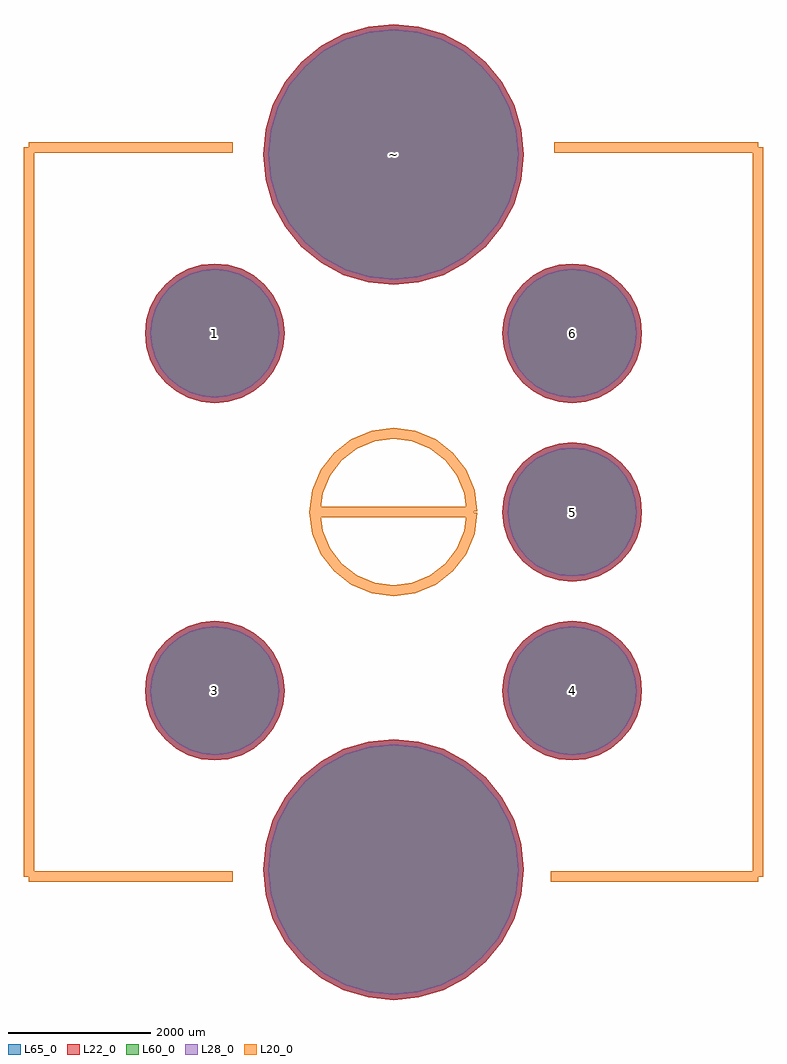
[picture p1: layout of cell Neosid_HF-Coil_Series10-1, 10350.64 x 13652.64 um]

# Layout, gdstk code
import gdstk
lib = gdstk.Library(unit=1e-6, precision=1e-09)
def P(c, l, *ps):  # polygons
    for p in ps: c.add(gdstk.Polygon(p, *l))
L20_0 = (20, 0)
L22_0 = (22, 0)
L28_0 = (28, 0)
L60_0 = (60, 0)
L65_0 = (65, 0)

neosid_hf_coil_series10_ = lib.new_cell('Neosid_HF-Coil_Series10-1')
P(neosid_hf_coil_series10_, L22_0, [(1825.06,-5001.26),(1789.992,-4645.208),(1686.136,-4302.84),(1517.482,-3987.311),(1290.512,-3710.748),(1013.949,-3483.778),(698.42,-3315.124),(356.052,-3211.268),(0,-3176.2),(-356.052,-3211.268),(-698.42,-3315.124),(-1013.949,-3483.778),(-1290.512,-3710.748),(-1517.482,-3987.311),(-1686.136,-4302.84),(-1789.992,-4645.208),(-1825.06,-5001.26),(-1789.992,-5357.312),(-1686.136,-5699.68),(-1517.482,-6015.209),(-1290.512,-6291.772),(-1013.949,-6518.742),(-698.42,-6687.396),(-356.052,-6791.252),(0,-6826.32),(356.052,-6791.252),(698.42,-6687.396),(1013.949,-6518.742),(1290.512,-6291.772),(1517.482,-6015.209),(1686.136,-5699.68),(1789.992,-5357.312)],
  [(1825.06,5001.26),(1789.992,5357.312),(1686.136,5699.68),(1517.482,6015.209),(1290.512,6291.772),(1013.949,6518.742),(698.42,6687.396),(356.052,6791.252),(0,6826.32),(-356.052,6791.252),(-698.42,6687.396),(-1013.949,6518.742),(-1290.512,6291.772),(-1517.482,6015.209),(-1686.136,5699.68),(-1789.992,5357.312),(-1825.06,5001.26),(-1789.992,4645.208),(-1686.136,4302.84),(-1517.482,3987.311),(-1290.512,3710.748),(-1013.949,3483.778),(-698.42,3315.124),(-356.052,3211.268),(0,3176.2),(356.052,3211.268),(698.42,3315.124),(1013.949,3483.778),(1290.512,3710.748),(1517.482,3987.311),(1686.136,4302.84),(1789.992,4645.208)],
  [(3474.79,-2499.36),(3456.047,-2309.063),(3400.54,-2126.079),(3310.4,-1957.44),(3189.093,-1809.627),(3041.28,-1688.32),(2872.641,-1598.18),(2689.657,-1542.673),(2499.36,-1523.93),(2309.063,-1542.673),(2126.079,-1598.18),(1957.44,-1688.32),(1809.627,-1809.627),(1688.32,-1957.44),(1598.18,-2126.079),(1542.673,-2309.063),(1523.93,-2499.36),(1542.673,-2689.657),(1598.18,-2872.641),(1688.32,-3041.28),(1809.627,-3189.093),(1957.44,-3310.4),(2126.079,-3400.54),(2309.063,-3456.047),(2499.36,-3474.79),(2689.657,-3456.047),(2872.641,-3400.54),(3041.28,-3310.4),(3189.093,-3189.093),(3310.4,-3041.28),(3400.54,-2872.641),(3456.047,-2689.657)],
  [(3474.79,0),(3456.047,190.297),(3400.54,373.281),(3310.4,541.92),(3189.093,689.733),(3041.28,811.04),(2872.641,901.18),(2689.657,956.687),(2499.36,975.43),(2309.063,956.687),(2126.079,901.18),(1957.44,811.04),(1809.627,689.733),(1688.32,541.92),(1598.18,373.281),(1542.673,190.297),(1523.93,0),(1542.673,-190.297),(1598.18,-373.281),(1688.32,-541.92),(1809.627,-689.733),(1957.44,-811.04),(2126.079,-901.18),(2309.063,-956.687),(2499.36,-975.43),(2689.657,-956.687),(2872.641,-901.18),(3041.28,-811.04),(3189.093,-689.733),(3310.4,-541.92),(3400.54,-373.281),(3456.047,-190.297)],
  [(3474.79,2499.36),(3456.047,2689.657),(3400.54,2872.641),(3310.4,3041.28),(3189.093,3189.093),(3041.28,3310.4),(2872.641,3400.54),(2689.657,3456.047),(2499.36,3474.79),(2309.063,3456.047),(2126.079,3400.54),(1957.44,3310.4),(1809.627,3189.093),(1688.32,3041.28),(1598.18,2872.641),(1542.673,2689.657),(1523.93,2499.36),(1542.673,2309.063),(1598.18,2126.079),(1688.32,1957.44),(1809.627,1809.627),(1957.44,1688.32),(2126.079,1598.18),(2309.063,1542.673),(2499.36,1523.93),(2689.657,1542.673),(2872.641,1598.18),(3041.28,1688.32),(3189.093,1809.627),(3310.4,1957.44),(3400.54,2126.079),(3456.047,2309.063)],
  [(-1523.93,-2499.36),(-1542.673,-2309.063),(-1598.18,-2126.079),(-1688.32,-1957.44),(-1809.627,-1809.627),(-1957.44,-1688.32),(-2126.079,-1598.18),(-2309.063,-1542.673),(-2499.36,-1523.93),(-2689.657,-1542.673),(-2872.641,-1598.18),(-3041.28,-1688.32),(-3189.093,-1809.627),(-3310.4,-1957.44),(-3400.54,-2126.079),(-3456.047,-2309.063),(-3474.79,-2499.36),(-3456.047,-2689.657),(-3400.54,-2872.641),(-3310.4,-3041.28),(-3189.093,-3189.093),(-3041.28,-3310.4),(-2872.641,-3400.54),(-2689.657,-3456.047),(-2499.36,-3474.79),(-2309.063,-3456.047),(-2126.079,-3400.54),(-1957.44,-3310.4),(-1809.627,-3189.093),(-1688.32,-3041.28),(-1598.18,-2872.641),(-1542.673,-2689.657)],
  [(-1523.93,2499.36),(-1542.673,2689.657),(-1598.18,2872.641),(-1688.32,3041.28),(-1809.627,3189.093),(-1957.44,3310.4),(-2126.079,3400.54),(-2309.063,3456.047),(-2499.36,3474.79),(-2689.657,3456.047),(-2872.641,3400.54),(-3041.28,3310.4),(-3189.093,3189.093),(-3310.4,3041.28),(-3400.54,2872.641),(-3456.047,2689.657),(-3474.79,2499.36),(-3456.047,2309.063),(-3400.54,2126.079),(-3310.4,1957.44),(-3189.093,1809.627),(-3041.28,1688.32),(-2872.641,1598.18),(-2689.657,1542.673),(-2499.36,1523.93),(-2309.063,1542.673),(-2126.079,1598.18),(-1957.44,1688.32),(-1809.627,1809.627),(-1688.32,1957.44),(-1598.18,2126.079),(-1542.673,2309.063)])
P(neosid_hf_coil_series10_, L28_0, [(1750.06,-5001.26),(1716.433,-4659.84),(1616.845,-4331.541),(1455.122,-4028.979),(1237.479,-3763.781),(972.281,-3546.138),(669.719,-3384.415),(341.42,-3284.827),(0,-3251.2),(-341.42,-3284.827),(-669.719,-3384.415),(-972.281,-3546.138),(-1237.479,-3763.781),(-1455.122,-4028.979),(-1616.845,-4331.541),(-1716.433,-4659.84),(-1750.06,-5001.26),(-1716.433,-5342.68),(-1616.845,-5670.979),(-1455.122,-5973.541),(-1237.479,-6238.739),(-972.281,-6456.382),(-669.719,-6618.105),(-341.42,-6717.693),(0,-6751.32),(341.42,-6717.693),(669.719,-6618.105),(972.281,-6456.382),(1237.479,-6238.739),(1455.122,-5973.541),(1616.845,-5670.979),(1716.433,-5342.68)],
  [(1750.06,5001.26),(1716.433,5342.68),(1616.845,5670.979),(1455.122,5973.541),(1237.479,6238.739),(972.281,6456.382),(669.719,6618.105),(341.42,6717.693),(0,6751.32),(-341.42,6717.693),(-669.719,6618.105),(-972.281,6456.382),(-1237.479,6238.739),(-1455.122,5973.541),(-1616.845,5670.979),(-1716.433,5342.68),(-1750.06,5001.26),(-1716.433,4659.84),(-1616.845,4331.541),(-1455.122,4028.979),(-1237.479,3763.781),(-972.281,3546.138),(-669.719,3384.415),(-341.42,3284.827),(0,3251.2),(341.42,3284.827),(669.719,3384.415),(972.281,3546.138),(1237.479,3763.781),(1455.122,4028.979),(1616.845,4331.541),(1716.433,4659.84)],
  [(3399.79,-2499.36),(3382.488,-2323.695),(3331.249,-2154.78),(3248.04,-1999.108),(3136.06,-1862.66),(2999.612,-1750.68),(2843.94,-1667.471),(2675.025,-1616.232),(2499.36,-1598.93),(2323.695,-1616.232),(2154.78,-1667.471),(1999.108,-1750.68),(1862.66,-1862.66),(1750.68,-1999.108),(1667.471,-2154.78),(1616.232,-2323.695),(1598.93,-2499.36),(1616.232,-2675.025),(1667.471,-2843.94),(1750.68,-2999.612),(1862.66,-3136.06),(1999.108,-3248.04),(2154.78,-3331.249),(2323.695,-3382.488),(2499.36,-3399.79),(2675.025,-3382.488),(2843.94,-3331.249),(2999.612,-3248.04),(3136.06,-3136.06),(3248.04,-2999.612),(3331.249,-2843.94),(3382.488,-2675.025)],
  [(3399.79,0),(3382.488,175.665),(3331.249,344.58),(3248.04,500.252),(3136.06,636.7),(2999.612,748.68),(2843.94,831.889),(2675.025,883.128),(2499.36,900.43),(2323.695,883.128),(2154.78,831.889),(1999.108,748.68),(1862.66,636.7),(1750.68,500.252),(1667.471,344.58),(1616.232,175.665),(1598.93,0),(1616.232,-175.665),(1667.471,-344.58),(1750.68,-500.252),(1862.66,-636.7),(1999.108,-748.68),(2154.78,-831.889),(2323.695,-883.128),(2499.36,-900.43),(2675.025,-883.128),(2843.94,-831.889),(2999.612,-748.68),(3136.06,-636.7),(3248.04,-500.252),(3331.249,-344.58),(3382.488,-175.665)],
  [(3399.79,2499.36),(3382.488,2675.025),(3331.249,2843.94),(3248.04,2999.612),(3136.06,3136.06),(2999.612,3248.04),(2843.94,3331.249),(2675.025,3382.488),(2499.36,3399.79),(2323.695,3382.488),(2154.78,3331.249),(1999.108,3248.04),(1862.66,3136.06),(1750.68,2999.612),(1667.471,2843.94),(1616.232,2675.025),(1598.93,2499.36),(1616.232,2323.695),(1667.471,2154.78),(1750.68,1999.108),(1862.66,1862.66),(1999.108,1750.68),(2154.78,1667.471),(2323.695,1616.232),(2499.36,1598.93),(2675.025,1616.232),(2843.94,1667.471),(2999.612,1750.68),(3136.06,1862.66),(3248.04,1999.108),(3331.249,2154.78),(3382.488,2323.695)],
  [(-1598.93,-2499.36),(-1616.232,-2323.695),(-1667.471,-2154.78),(-1750.68,-1999.108),(-1862.66,-1862.66),(-1999.108,-1750.68),(-2154.78,-1667.471),(-2323.695,-1616.232),(-2499.36,-1598.93),(-2675.025,-1616.232),(-2843.94,-1667.471),(-2999.612,-1750.68),(-3136.06,-1862.66),(-3248.04,-1999.108),(-3331.249,-2154.78),(-3382.488,-2323.695),(-3399.79,-2499.36),(-3382.488,-2675.025),(-3331.249,-2843.94),(-3248.04,-2999.612),(-3136.06,-3136.06),(-2999.612,-3248.04),(-2843.94,-3331.249),(-2675.025,-3382.488),(-2499.36,-3399.79),(-2323.695,-3382.488),(-2154.78,-3331.249),(-1999.108,-3248.04),(-1862.66,-3136.06),(-1750.68,-2999.612),(-1667.471,-2843.94),(-1616.232,-2675.025)],
  [(-1598.93,2499.36),(-1616.232,2675.025),(-1667.471,2843.94),(-1750.68,2999.612),(-1862.66,3136.06),(-1999.108,3248.04),(-2154.78,3331.249),(-2323.695,3382.488),(-2499.36,3399.79),(-2675.025,3382.488),(-2843.94,3331.249),(-2999.612,3248.04),(-3136.06,3136.06),(-3248.04,2999.612),(-3331.249,2843.94),(-3382.488,2675.025),(-3399.79,2499.36),(-3382.488,2323.695),(-3331.249,2154.78),(-3248.04,1999.108),(-3136.06,1862.66),(-2999.612,1750.68),(-2843.94,1667.471),(-2675.025,1616.232),(-2499.36,1598.93),(-2323.695,1616.232),(-2154.78,1667.471),(-1999.108,1750.68),(-1862.66,1862.66),(-1750.68,1999.108),(-1667.471,2154.78),(-1616.232,2323.695)])
P(neosid_hf_coil_series10_, L60_0, [(1750.06,-5001.26),(1716.433,-4659.84),(1616.845,-4331.541),(1455.122,-4028.979),(1237.479,-3763.781),(972.281,-3546.138),(669.719,-3384.415),(341.42,-3284.827),(0,-3251.2),(-341.42,-3284.827),(-669.719,-3384.415),(-972.281,-3546.138),(-1237.479,-3763.781),(-1455.122,-4028.979),(-1616.845,-4331.541),(-1716.433,-4659.84),(-1750.06,-5001.26),(-1716.433,-5342.68),(-1616.845,-5670.979),(-1455.122,-5973.541),(-1237.479,-6238.739),(-972.281,-6456.382),(-669.719,-6618.105),(-341.42,-6717.693),(0,-6751.32),(341.42,-6717.693),(669.719,-6618.105),(972.281,-6456.382),(1237.479,-6238.739),(1455.122,-5973.541),(1616.845,-5670.979),(1716.433,-5342.68)],
  [(1750.06,5001.26),(1716.433,5342.68),(1616.845,5670.979),(1455.122,5973.541),(1237.479,6238.739),(972.281,6456.382),(669.719,6618.105),(341.42,6717.693),(0,6751.32),(-341.42,6717.693),(-669.719,6618.105),(-972.281,6456.382),(-1237.479,6238.739),(-1455.122,5973.541),(-1616.845,5670.979),(-1716.433,5342.68),(-1750.06,5001.26),(-1716.433,4659.84),(-1616.845,4331.541),(-1455.122,4028.979),(-1237.479,3763.781),(-972.281,3546.138),(-669.719,3384.415),(-341.42,3284.827),(0,3251.2),(341.42,3284.827),(669.719,3384.415),(972.281,3546.138),(1237.479,3763.781),(1455.122,4028.979),(1616.845,4331.541),(1716.433,4659.84)],
  [(3399.79,-2499.36),(3382.488,-2323.695),(3331.249,-2154.78),(3248.04,-1999.108),(3136.06,-1862.66),(2999.612,-1750.68),(2843.94,-1667.471),(2675.025,-1616.232),(2499.36,-1598.93),(2323.695,-1616.232),(2154.78,-1667.471),(1999.108,-1750.68),(1862.66,-1862.66),(1750.68,-1999.108),(1667.471,-2154.78),(1616.232,-2323.695),(1598.93,-2499.36),(1616.232,-2675.025),(1667.471,-2843.94),(1750.68,-2999.612),(1862.66,-3136.06),(1999.108,-3248.04),(2154.78,-3331.249),(2323.695,-3382.488),(2499.36,-3399.79),(2675.025,-3382.488),(2843.94,-3331.249),(2999.612,-3248.04),(3136.06,-3136.06),(3248.04,-2999.612),(3331.249,-2843.94),(3382.488,-2675.025)],
  [(3399.79,0),(3382.488,175.665),(3331.249,344.58),(3248.04,500.252),(3136.06,636.7),(2999.612,748.68),(2843.94,831.889),(2675.025,883.128),(2499.36,900.43),(2323.695,883.128),(2154.78,831.889),(1999.108,748.68),(1862.66,636.7),(1750.68,500.252),(1667.471,344.58),(1616.232,175.665),(1598.93,0),(1616.232,-175.665),(1667.471,-344.58),(1750.68,-500.252),(1862.66,-636.7),(1999.108,-748.68),(2154.78,-831.889),(2323.695,-883.128),(2499.36,-900.43),(2675.025,-883.128),(2843.94,-831.889),(2999.612,-748.68),(3136.06,-636.7),(3248.04,-500.252),(3331.249,-344.58),(3382.488,-175.665)],
  [(3399.79,2499.36),(3382.488,2675.025),(3331.249,2843.94),(3248.04,2999.612),(3136.06,3136.06),(2999.612,3248.04),(2843.94,3331.249),(2675.025,3382.488),(2499.36,3399.79),(2323.695,3382.488),(2154.78,3331.249),(1999.108,3248.04),(1862.66,3136.06),(1750.68,2999.612),(1667.471,2843.94),(1616.232,2675.025),(1598.93,2499.36),(1616.232,2323.695),(1667.471,2154.78),(1750.68,1999.108),(1862.66,1862.66),(1999.108,1750.68),(2154.78,1667.471),(2323.695,1616.232),(2499.36,1598.93),(2675.025,1616.232),(2843.94,1667.471),(2999.612,1750.68),(3136.06,1862.66),(3248.04,1999.108),(3331.249,2154.78),(3382.488,2323.695)],
  [(-1598.93,-2499.36),(-1616.232,-2323.695),(-1667.471,-2154.78),(-1750.68,-1999.108),(-1862.66,-1862.66),(-1999.108,-1750.68),(-2154.78,-1667.471),(-2323.695,-1616.232),(-2499.36,-1598.93),(-2675.025,-1616.232),(-2843.94,-1667.471),(-2999.612,-1750.68),(-3136.06,-1862.66),(-3248.04,-1999.108),(-3331.249,-2154.78),(-3382.488,-2323.695),(-3399.79,-2499.36),(-3382.488,-2675.025),(-3331.249,-2843.94),(-3248.04,-2999.612),(-3136.06,-3136.06),(-2999.612,-3248.04),(-2843.94,-3331.249),(-2675.025,-3382.488),(-2499.36,-3399.79),(-2323.695,-3382.488),(-2154.78,-3331.249),(-1999.108,-3248.04),(-1862.66,-3136.06),(-1750.68,-2999.612),(-1667.471,-2843.94),(-1616.232,-2675.025)],
  [(-1598.93,2499.36),(-1616.232,2675.025),(-1667.471,2843.94),(-1750.68,2999.612),(-1862.66,3136.06),(-1999.108,3248.04),(-2154.78,3331.249),(-2323.695,3382.488),(-2499.36,3399.79),(-2675.025,3382.488),(-2843.94,3331.249),(-2999.612,3248.04),(-3136.06,3136.06),(-3248.04,2999.612),(-3331.249,2843.94),(-3382.488,2675.025),(-3399.79,2499.36),(-3382.488,2323.695),(-3331.249,2154.78),(-3248.04,1999.108),(-3136.06,1862.66),(-2999.612,1750.68),(-2843.94,1667.471),(-2675.025,1616.232),(-2499.36,1598.93),(-2323.695,1616.232),(-2154.78,1667.471),(-1999.108,1750.68),(-1862.66,1862.66),(-1750.68,1999.108),(-1667.471,2154.78),(-1616.232,2323.695)])
P(neosid_hf_coil_series10_, L65_0, [(1825.06,-5001.26),(1789.992,-4645.208),(1686.136,-4302.84),(1517.482,-3987.311),(1290.512,-3710.748),(1013.949,-3483.778),(698.42,-3315.124),(356.052,-3211.268),(0,-3176.2),(-356.052,-3211.268),(-698.42,-3315.124),(-1013.949,-3483.778),(-1290.512,-3710.748),(-1517.482,-3987.311),(-1686.136,-4302.84),(-1789.992,-4645.208),(-1825.06,-5001.26),(-1789.992,-5357.312),(-1686.136,-5699.68),(-1517.482,-6015.209),(-1290.512,-6291.772),(-1013.949,-6518.742),(-698.42,-6687.396),(-356.052,-6791.252),(0,-6826.32),(356.052,-6791.252),(698.42,-6687.396),(1013.949,-6518.742),(1290.512,-6291.772),(1517.482,-6015.209),(1686.136,-5699.68),(1789.992,-5357.312)],
  [(1825.06,5001.26),(1789.992,5357.312),(1686.136,5699.68),(1517.482,6015.209),(1290.512,6291.772),(1013.949,6518.742),(698.42,6687.396),(356.052,6791.252),(0,6826.32),(-356.052,6791.252),(-698.42,6687.396),(-1013.949,6518.742),(-1290.512,6291.772),(-1517.482,6015.209),(-1686.136,5699.68),(-1789.992,5357.312),(-1825.06,5001.26),(-1789.992,4645.208),(-1686.136,4302.84),(-1517.482,3987.311),(-1290.512,3710.748),(-1013.949,3483.778),(-698.42,3315.124),(-356.052,3211.268),(0,3176.2),(356.052,3211.268),(698.42,3315.124),(1013.949,3483.778),(1290.512,3710.748),(1517.482,3987.311),(1686.136,4302.84),(1789.992,4645.208)],
  [(3474.79,-2499.36),(3456.047,-2309.063),(3400.54,-2126.079),(3310.4,-1957.44),(3189.093,-1809.627),(3041.28,-1688.32),(2872.641,-1598.18),(2689.657,-1542.673),(2499.36,-1523.93),(2309.063,-1542.673),(2126.079,-1598.18),(1957.44,-1688.32),(1809.627,-1809.627),(1688.32,-1957.44),(1598.18,-2126.079),(1542.673,-2309.063),(1523.93,-2499.36),(1542.673,-2689.657),(1598.18,-2872.641),(1688.32,-3041.28),(1809.627,-3189.093),(1957.44,-3310.4),(2126.079,-3400.54),(2309.063,-3456.047),(2499.36,-3474.79),(2689.657,-3456.047),(2872.641,-3400.54),(3041.28,-3310.4),(3189.093,-3189.093),(3310.4,-3041.28),(3400.54,-2872.641),(3456.047,-2689.657)],
  [(3474.79,0),(3456.047,190.297),(3400.54,373.281),(3310.4,541.92),(3189.093,689.733),(3041.28,811.04),(2872.641,901.18),(2689.657,956.687),(2499.36,975.43),(2309.063,956.687),(2126.079,901.18),(1957.44,811.04),(1809.627,689.733),(1688.32,541.92),(1598.18,373.281),(1542.673,190.297),(1523.93,0),(1542.673,-190.297),(1598.18,-373.281),(1688.32,-541.92),(1809.627,-689.733),(1957.44,-811.04),(2126.079,-901.18),(2309.063,-956.687),(2499.36,-975.43),(2689.657,-956.687),(2872.641,-901.18),(3041.28,-811.04),(3189.093,-689.733),(3310.4,-541.92),(3400.54,-373.281),(3456.047,-190.297)],
  [(3474.79,2499.36),(3456.047,2689.657),(3400.54,2872.641),(3310.4,3041.28),(3189.093,3189.093),(3041.28,3310.4),(2872.641,3400.54),(2689.657,3456.047),(2499.36,3474.79),(2309.063,3456.047),(2126.079,3400.54),(1957.44,3310.4),(1809.627,3189.093),(1688.32,3041.28),(1598.18,2872.641),(1542.673,2689.657),(1523.93,2499.36),(1542.673,2309.063),(1598.18,2126.079),(1688.32,1957.44),(1809.627,1809.627),(1957.44,1688.32),(2126.079,1598.18),(2309.063,1542.673),(2499.36,1523.93),(2689.657,1542.673),(2872.641,1598.18),(3041.28,1688.32),(3189.093,1809.627),(3310.4,1957.44),(3400.54,2126.079),(3456.047,2309.063)],
  [(-1523.93,-2499.36),(-1542.673,-2309.063),(-1598.18,-2126.079),(-1688.32,-1957.44),(-1809.627,-1809.627),(-1957.44,-1688.32),(-2126.079,-1598.18),(-2309.063,-1542.673),(-2499.36,-1523.93),(-2689.657,-1542.673),(-2872.641,-1598.18),(-3041.28,-1688.32),(-3189.093,-1809.627),(-3310.4,-1957.44),(-3400.54,-2126.079),(-3456.047,-2309.063),(-3474.79,-2499.36),(-3456.047,-2689.657),(-3400.54,-2872.641),(-3310.4,-3041.28),(-3189.093,-3189.093),(-3041.28,-3310.4),(-2872.641,-3400.54),(-2689.657,-3456.047),(-2499.36,-3474.79),(-2309.063,-3456.047),(-2126.079,-3400.54),(-1957.44,-3310.4),(-1809.627,-3189.093),(-1688.32,-3041.28),(-1598.18,-2872.641),(-1542.673,-2689.657)],
  [(-1523.93,2499.36),(-1542.673,2689.657),(-1598.18,2872.641),(-1688.32,3041.28),(-1809.627,3189.093),(-1957.44,3310.4),(-2126.079,3400.54),(-2309.063,3456.047),(-2499.36,3474.79),(-2689.657,3456.047),(-2872.641,3400.54),(-3041.28,3310.4),(-3189.093,3189.093),(-3310.4,3041.28),(-3400.54,2872.641),(-3456.047,2689.657),(-3474.79,2499.36),(-3456.047,2309.063),(-3400.54,2126.079),(-3310.4,1957.44),(-3189.093,1809.627),(-3041.28,1688.32),(-2872.641,1598.18),(-2689.657,1542.673),(-2499.36,1523.93),(-2309.063,1542.673),(-2126.079,1598.18),(-1957.44,1688.32),(-1809.627,1809.627),(-1688.32,1957.44),(-1598.18,2126.079),(-1542.673,2309.063)])
neosid_hf_coil_series10_.add(gdstk.FlexPath([(5100.32,5100.32),(2250.44,5100.32)], 149.998, ends="flush", simple_path=True, layer=20, datatype=0))  # L20_0
neosid_hf_coil_series10_.add(gdstk.FlexPath([(-5100.32,-5100.32),(-2250.44,-5100.32)], 149.998, ends="flush", simple_path=True, layer=20, datatype=0))  # L20_0
neosid_hf_coil_series10_.add(gdstk.FlexPath([(-5100.32,5100.32),(-5100.32,-5100.32)], 149.998, ends="flush", simple_path=True, layer=20, datatype=0))  # L20_0
neosid_hf_coil_series10_.add(gdstk.FlexPath([(-2250.44,5100.32),(-5100.32,5100.32)], 149.998, ends="flush", simple_path=True, layer=20, datatype=0))  # L20_0
neosid_hf_coil_series10_.add(gdstk.FlexPath([(5100.32,-5100.32),(5100.32,5100.32)], 149.998, ends="flush", simple_path=True, layer=20, datatype=0))  # L20_0
neosid_hf_coil_series10_.add(gdstk.FlexPath([(2199.64,-5100.32),(5100.32,-5100.32)], 149.998, ends="flush", simple_path=True, layer=20, datatype=0))  # L20_0
neosid_hf_coil_series10_.add(gdstk.FlexPath([(1099.82,0),(1062.345,284.654),(952.472,549.91),(777.69,777.69),(549.91,952.472),(284.654,1062.345),(0,1099.82),(-284.654,1062.345),(-549.91,952.472),(-777.69,777.69),(-952.472,549.91),(-1062.345,284.654),(-1099.82,0),(-1062.345,-284.654),(-952.472,-549.91),(-777.69,-777.69),(-549.91,-952.472),(-284.654,-1062.345),(0,-1099.82),(284.654,-1062.345),(549.91,-952.472),(777.69,-777.69),(952.472,-549.91),(1062.345,-284.654),(1099.82,0)], 149.998, ends="flush", simple_path=True, layer=20, datatype=0))  # L20_0
neosid_hf_coil_series10_.add(gdstk.FlexPath([(-1099.82,0),(1099.82,0)], 149.998, ends="flush", simple_path=True, layer=20, datatype=0))  # L20_0
neosid_hf_coil_series10_.add(gdstk.Label('~', (0,5001.26), layer=28, texttype=0))
neosid_hf_coil_series10_.add(gdstk.Label('4', (2499.36,-2499.36), layer=28, texttype=0))
neosid_hf_coil_series10_.add(gdstk.Label('5', (2499.36,0), layer=28, texttype=0))
neosid_hf_coil_series10_.add(gdstk.Label('6', (2499.36,2499.36), layer=28, texttype=0))
neosid_hf_coil_series10_.add(gdstk.Label('3', (-2499.36,-2499.36), layer=28, texttype=0))
neosid_hf_coil_series10_.add(gdstk.Label('1', (-2499.36,2499.36), layer=28, texttype=0))
neosid_hf_coil_series10_.add(gdstk.Label('type', (50.8,-8801.1), layer=9, texttype=0))
neosid_hf_coil_series10_.add(gdstk.Label('devicename', (149.86,8150.86), layer=9, texttype=0))

lib.write_gds('Neosid_HF-Coil_Series10-1.gds')
